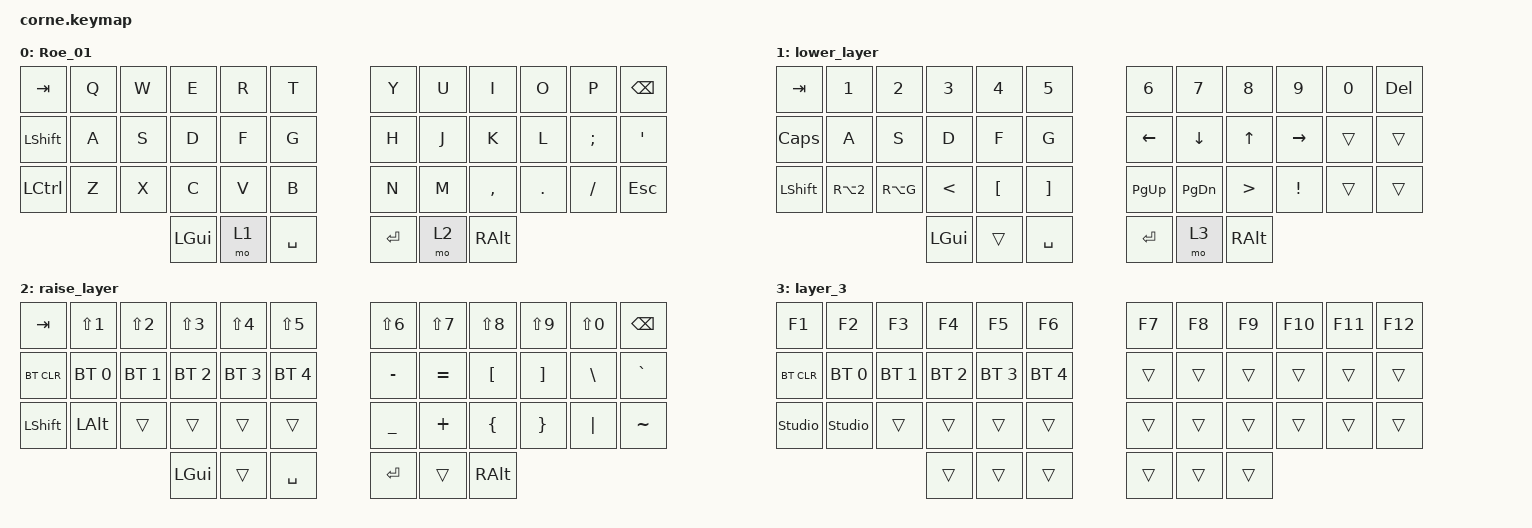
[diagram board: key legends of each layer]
/*
 * Copyright (c) 2020 The ZMK Contributors
 *
 * SPDX-License-Identifier: MIT
 */

#include <behaviors.dtsi>
#include <dt-bindings/zmk/bt.h>
#include <dt-bindings/zmk/keys.h>

/ {
    keymap {
        compatible = "zmk,keymap";

        Roe_01 {
            // -----------------------------------------------------------------------------------------
            // |  TAB |  Q  |  W  |  E  |  R  |  T  |   |  Y  |  U   |  I  |  O  |  P  | BKSP |
            // | CTRL |  A  |  S  |  D  |  F  |  G  |   |  H  |  J   |  K  |  L  |  ;  |  '   |
            // | SHFT |  Z  |  X  |  C  |  V  |  B  |   |  N  |  M   |  ,  |  .  |  /  | ESC  |
            //                    | GUI | LWR | SPC |   | ENT | RSE  | ALT |

            bindings = <
&kp TAB           &kp Q  &kp W  &kp E     &kp R  &kp T        &kp Y    &kp U  &kp I      &kp O    &kp P     &kp BSPC
&kp LEFT_SHIFT    &kp A  &kp S  &kp D     &kp F  &kp G        &kp H    &kp J  &kp K      &kp L    &kp SEMI  &kp SQT
&kp LEFT_CONTROL  &kp Z  &kp X  &kp C     &kp V  &kp B        &kp N    &kp M  &kp COMMA  &kp DOT  &kp FSLH  &kp ESC
                                &kp LGUI  &mo 1  &kp SPACE    &kp RET  &mo 2  &kp RALT
            >;
        };

        lower_layer {
            // -----------------------------------------------------------------------------------------
            // |  TAB |  1  |  2  |  3  |  4  |  5  |   |  6  |  7  |  8  |  9  |  0  | BKSP |
            // | BTCLR| BT1 | BT2 | BT3 | BT4 | BT5 |   | LFT | DWN |  UP | RGT |     |      |
            // | SHFT |     |     |     |     |     |   |     |     |     |     |     |      |
            //                    | GUI |     | SPC |   | ENT |     | ALT |

            bindings = <
&kp TAB    &kp N1            &kp N2     &kp N3         &kp N4            &kp N5               &kp N6       &kp N7         &kp N8            &kp N9           &kp N0  &kp DEL
&kp CAPS   &kp A             &kp S      &kp D          &kp F             &kp G                &kp LEFT     &kp DOWN       &kp UP            &kp RIGHT        &trans  &trans
&kp LSHFT  &kp RA(NUMBER_2)  &kp RA(G)  &kp LESS_THAN  &kp LEFT_BRACKET  &kp RIGHT_BRACKET    &kp PAGE_UP  &kp PAGE_DOWN  &kp GREATER_THAN  &kp EXCLAMATION  &trans  &trans
                                        &kp LGUI       &trans            &kp SPACE            &kp RET      &mo 3          &kp RALT
            >;
        };

        raise_layer {
            // -----------------------------------------------------------------------------------------
            // |  TAB |  !  |  @  |  #  |  $  |  %  |   |  ^  |  &  |  *  |  (  |  )  | BKSP |
            // | CTRL |     |     |     |     |     |   |  -  |  =  |  [  |  ]  |  \  |  `   |
            // | SHFT |     |     |     |     |     |   |  _  |  +  |  {  |  }  | "|" |  ~   |
            //                    | GUI |     | SPC |   | ENT |     | ALT |

            bindings = <
&kp TAB     &kp LS(N1)    &kp LS(N2)    &kp LS(N3)    &kp LS(N4)    &kp LS(N5)      &kp LS(N6)  &kp LS(N7)  &kp LS(N8)  &kp LS(N9)  &kp LS(N0)  &kp BSPC
&bt BT_CLR  &bt BT_SEL 0  &bt BT_SEL 1  &bt BT_SEL 2  &bt BT_SEL 3  &bt BT_SEL 4    &kp MINUS   &kp EQUAL   &kp LBKT    &kp RBKT    &kp BSLH    &kp GRAVE
&kp LSHFT   &kp LEFT_ALT  &trans        &trans        &trans        &trans          &kp UNDER   &kp PLUS    &kp LBRC    &kp RBRC    &kp PIPE    &kp TILDE
                                        &kp LGUI      &trans        &kp SPACE       &kp RET     &trans      &kp RALT
            >;
        };

        layer_3 {
            bindings = <
&kp F1          &kp F2          &kp F3        &kp F4        &kp F5        &kp F6          &kp F7  &kp F8  &kp F9  &kp F10  &kp F11  &kp F12
&bt BT_CLR      &bt BT_SEL 0    &bt BT_SEL 1  &bt BT_SEL 2  &bt BT_SEL 3  &bt BT_SEL 4    &trans  &trans  &trans  &trans   &trans   &trans
&studio_unlock  &studio_unlock  &trans        &trans        &trans        &trans          &trans  &trans  &trans  &trans   &trans   &trans
                                              &trans        &trans        &trans          &trans  &trans  &trans
            >;
        };
    };
};
